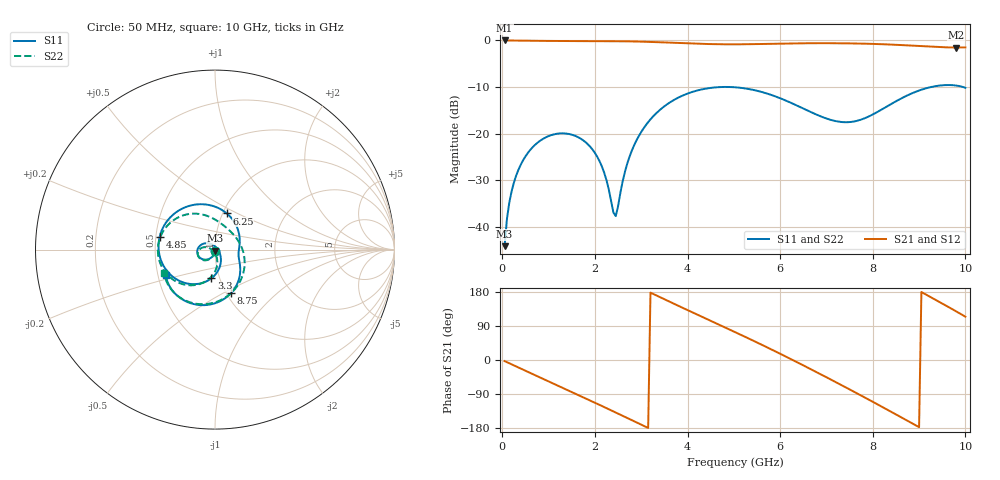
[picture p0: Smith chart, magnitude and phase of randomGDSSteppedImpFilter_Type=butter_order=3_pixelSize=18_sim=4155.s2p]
! freq	dB(S11)	phase(S11)	dB(S12)	phase(S12)
!  dB(S21)	phase(S21)	dB(S22)	phase(S22)
!S-par simulation data
#  GHz  S  DB  R 50
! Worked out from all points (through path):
!   200 points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, 50 MHz to 10 GHz, reference 50 ohm
!   highest |S21| = -0.01 dB at 50 MHz (marker M1); lowest = -1.5 dB at 9.8 GHz (marker M2)
!   group delay of S21, straight-line fit = 166 ps
!   lowest |S11| = -44.2 dB at 50 MHz (marker M3), VSWR 1.01, Z = 50 - j0.617 ohm
!   |S11| at or under -10 dB: start of sweep to 4.757 GHz; 4.898 GHz to 9.263 GHz (4.365 GHz wide, 61.6 % of centre); 9.945 GHz to end of sweep
!   |S22| runs from -44.2 to -9.6 dB; largest |S21 - S12| = 0
!   S11 on the Smith chart (normalised r, x): 50 MHz: 1.00, -0.01; 3.3 GHz: 0.91, -0.30; 4.85 GHz: 0.52, +0.08; 6.25 GHz: 1.04, +0.44; 8.75 GHz: 1.05, -0.54; 10 GHz: 0.55, -0.17
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0.05  -44.19 -90.4  -0.01 -2.9  -0.01 -2.9  -44.18 -90.3
0.2  -32.45 -101.3  -0.02 -11.4  -0.02 -11.4  -32.45 -100.3
0.55  -24.19 -122.8  -0.06 -31.2  -0.06 -31.2  -24.19 -119.9
1.15  -20.10 -158.9  -0.12 -64.8  -0.12 -64.8  -20.10 -152.2
1.75  -21.48 163.4  -0.15 -98.5  -0.15 -98.5  -21.49 177.7
2.15  -27.06 131.4  -0.15 -121.3  -0.15 -121.3  -27.12 164.1
2.45  -37.72 30.4  -0.17 -138.6  -0.17 -138.6  -37.91 -127.3
2.8  -23.60 -60.0  -0.21 -158.9  -0.21 -158.9  -23.54 -78.8
3.3  -15.88 -97.0  -0.35 171.9  -0.35 171.9  -15.83 -100.0
3.4  -14.95 -103.5  -0.39 166.1  -0.39 166.1  -14.91 -105.0
4.15  -10.92 -150.3  -0.69 123.2  -0.69 123.2  -10.88 -143.5
4.85  -9.99 166.7  -0.83 83.6  -0.83 83.6  -9.94 -178.9
5.05  -10.08 154.1  -0.83 72.3  -0.83 72.3  -10.03 171.1
5.7  -11.36 111.3  -0.74 34.5  -0.74 34.5  -11.29 138.9
6.25  -13.47 72.0  -0.64 1.3  -0.64 1.3  -13.40 112.3
6.7  -15.56 38.9  -0.59 -26.6  -0.59 -26.6  -15.49 90.3
7.55  -17.48 -11.4  -0.64 -80.8  -0.64 -80.8  -17.49 34.6
8.35  -13.93 -46.9  -0.87 -133.5  -0.87 -133.5  -14.09 -35.2
8.75  -11.79 -69.4  -1.07 -160.4  -1.07 -160.4  -11.93 -66.7
9.25  -10.03 -100.9  -1.35 166.0  -1.35 166.0  -10.11 -103.0
9.8  -9.69 -138.1  -1.52 128.4  -1.52 128.4  -9.68 -141.2
10  -10.18 -152.3  -1.50 114.3  -1.50 114.3  -10.15 -155.4
